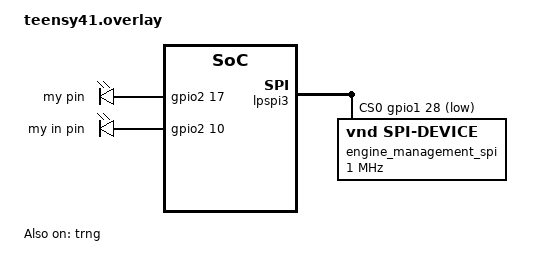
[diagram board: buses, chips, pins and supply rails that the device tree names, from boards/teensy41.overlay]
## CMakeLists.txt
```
cmake_minimum_required(VERSION 3.20.0)
find_package(Zephyr REQUIRED HINTS $ENV{ZEPHYR_BASE})
project(solo_blink)

target_sources(app PRIVATE src/main.c)
```

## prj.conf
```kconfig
CONFIG_GPIO=y
CONFIG_ENTROPY_GENERATOR=y
CONFIG_ENTROPY_MCUX_TRNG=y

CONFIG_SPI=y

CONFIG_SERIAL=y
CONFIG_CONSOLE=y
CONFIG_UART_CONSOLE=y
CONFIG_STDOUT_CONSOLE=y

CONFIG_NEWLIB_LIBC=y
CONFIG_NEWLIB_LIBC_FLOAT_PRINTF=y
```

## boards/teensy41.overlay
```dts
/{
		aliases{
				rand-gen = &trng;
				eng-spi = &engine_management_spi;
				out = &out;
				in = &in;
		};

		chosen {

        zephyr,console = &lpuart6;

    };

		user
		{
				compatible = "gpio-leds";
				out: out-pin{
						gpios = <&gpio2 17 GPIO_ACTIVE_HIGH>;
						label = "my pin";
				};

				in: in-pin{
						gpios = <&gpio2 10 GPIO_ACTIVE_HIGH>;
						label = "my in pin";
				};
		};
};

&lpspi3{
		status = "okay";

		cs-gpios = <&gpio1 28 GPIO_ACTIVE_LOW>;

		engine_management_spi: engine-management-spi@0{
				compatible = "vnd,spi-device";
				reg = <0>;
				spi-max-frequency = <1000000>;
				/* spi-cpol; */

				spi-interframe-delay-ns = <0>;
						/* description: | */
						/*   Delay in nanoseconds between SPI words. */
						/*   Default of 0 is special value which will assume to mean half of the SCK period. */

				spi-cs-setup-delay-ns = <100>;
						/* description: | */
						/*   Delay in nanoseconds to be introduced by the controller after CS is asserted. */
						/*   Also known as enable lead time. */

				spi-cs-hold-delay-ns = <100>;
						/* description: | */
						/*  Delay in nanoseconds to be introduced by the controller before the CS is de-asserted. */
						/*   Also known as enable lag time. */

		};

};

&pinmux_lpspi3{
		status = "okay";
};

&gpio1{
		status = "okay";
};

&gpio2{
		status = "okay";
};

&trng{
		status = "okay";
};

/* Ethernet */
&enet {
		status = "disabled";
};

&enet_mac {
		status = "disabled";
};

&enet_mdio {
		status = "disabled";
};
```

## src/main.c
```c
#include <stdio.h>
#include <zephyr/kernel.h>
#include <zephyr/device.h>
#include <zephyr/drivers/entropy.h>
#include <zephyr/drivers/spi.h>
#include <zephyr/drivers/gpio.h>
#include <zephyr/drivers/gpio/gpio_utils.h>

/* GPIO */
// #define IN_PIN DT_ALIAS(in)
const struct gpio_dt_spec gp_pin = GPIO_DT_SPEC_GET(DT_PATH(user, out_pin), gpios);
const struct gpio_dt_spec in_pin = GPIO_DT_SPEC_GET(DT_PATH(user, in_pin), gpios);

/* RANDOM GENERATOR */
#define RAND_GEN DT_ALIAS(rand_gen)
const struct device *random_gen = DEVICE_DT_GET(RAND_GEN);

/* ENGINE MANAGEMENT ADC*/
#define ENG_SPI DT_ALIAS(eng_spi)
const struct spi_dt_spec eng_spi = SPI_DT_SPEC_GET(ENG_SPI, SPI_WORD_SET(8) | SPI_OP_MODE_MASTER | SPI_TRANSFER_MSB, 0);
// const struct spi_dt_spec *engine_management_adc = SPI_DT_SPEC_GET(ENG_SPI);
//  const struct device *random_gen = DEVICE_DT_GET(DT_CHOSEN(zephyr_entropy));

int main(void)
{
	struct spi_buf_set rx_channels[8] = {
		{ .buffers =
			  (struct spi_buf[]){
				  { .buf = (void *)(char[]){ 0b00000000, 0b00000000, 0b00000000 }, .len = 3 },
			  },
		  .count = 1 },
		{ .buffers =
			  (struct spi_buf[]){
				  { .buf = (void *)(char[]){ 0b00000000, 0b00000000, 0b00000000 }, .len = 3 },
			  },
		  .count = 1 },

		{ .buffers =
			  (struct spi_buf[]){
				  { .buf = (void *)(char[]){ 0b00000000, 0b00000000, 0b00000000 }, .len = 3 },
			  },
		  .count = 1 },

		{ .buffers =
			  (struct spi_buf[]){
				  { .buf = (void *)(char[]){ 0b00000000, 0b00000000, 0b00000000 }, .len = 3 },
			  },
		  .count = 1 },

		{ .buffers =
			  (struct spi_buf[]){
				  { .buf = (void *)(char[]){ 0b00000000, 0b00000000, 0b00000000 }, .len = 3 },
			  },
		  .count = 1 },
		{ .buffers =
			  (struct spi_buf[]){
				  { .buf = (void *)(char[]){ 0b00000000, 0b00000000, 0b00000000 }, .len = 3 },
			  },
		  .count = 1 },

		{ .buffers =
			  (struct spi_buf[]){
				  { .buf = (void *)(char[]){ 0b00000000, 0b00000000, 0b00000000 }, .len = 3 },
			  },
		  .count = 1 },

		{ .buffers =
			  (struct spi_buf[]){
				  { .buf = (void *)(char[]){ 0b00000000, 0b00000000, 0b00000000 }, .len = 3 },
			  },
		  .count = 1 },
	};

	struct spi_buf_set tx_channels[8] = {
		{ .buffers =
			  (struct spi_buf[]){
				  { .buf = (void *)(char[]){ 0b00000110, 0b00000000, 0b00000000 }, .len = 3 },
			  },
		  .count = 1 },
		{ .buffers =
			  (struct spi_buf[]){
				  { .buf = (void *)(char[]){ 0b00000110, 0b01000000, 0b00000000 }, .len = 3 },
			  },
		  .count = 1 },

		{ .buffers =
			  (struct spi_buf[]){
				  { .buf = (void *)(char[]){ 0b00000110, 0b10000000, 0b00000000 }, .len = 3 },
			  },
		  .count = 1 },

		{ .buffers =
			  (struct spi_buf[]){
				  { .buf = (void *)(char[]){ 0b00000110, 0b11000000, 0b00000000 }, .len = 3 },
			  },
		  .count = 1 },

		{ .buffers =
			  (struct spi_buf[]){
				  { .buf = (void *)(char[]){ 0b00000111, 0b00000000, 0b00000000 }, .len = 3 },
			  },
		  .count = 1 },
		{ .buffers =
			  (struct spi_buf[]){
				  { .buf = (void *)(char[]){ 0b00000111, 0b01000000, 0b00000000 }, .len = 3 },
			  },
		  .count = 1 },

		{ .buffers =
			  (struct spi_buf[]){
				  { .buf = (void *)(char[]){ 0b00000111, 0b10000000, 0b00000000 }, .len = 3 },
			  },
		  .count = 1 },

		{ .buffers =
			  (struct spi_buf[]){
				  { .buf = (void *)(char[]){ 0b00000111, 0b11000000, 0b00000000 }, .len = 3 },
			  },
		  .count = 1 },
	};

	if (!gpio_is_ready_dt(&gp_pin))
	{
		printf("GPIO GP BAD");
	}
	else
	{
		printf("GPIO ENG GP GOOOD\n");
	}

	if (!gpio_is_ready_dt(&in_pin))
	{
		printf("GPIO IN BAD");
	}
	else
	{
		printf("GPIO ENG GP GOOOD\n");
	}

	if (!spi_is_ready_dt(&eng_spi))
	{
		printf("GPIO ENG SPI BAD");
	}
	else
	{
		printf("GPIO ENG SPI GOOOD\n");
	}

	printf("GPIO READY\n");

	gpio_pin_configure_dt(&gp_pin, GPIO_OUTPUT_ACTIVE);
	gpio_pin_configure_dt(&gp_pin, GPIO_INPUT);

	while (1)
	{
		uint32_t x = 100;
		int ret = entropy_get_entropy(random_gen, (uint8_t *)&x, sizeof(x));
		// int ret = entropy_get_entropy(random_gen, (uint8_t *)&x, sizeof(x));

		printf("true random number: %u\n", (uint32_t)x);
		printf("PIN READ: %u\n", (uint32_t)gpio_pin_get_raw(in_pin.port, in_pin.pin));
		printf("PIN OUT: %u\n", (uint32_t)gpio_pin_get_dt(&gp_pin));

		for (int i = 0; i < 3; ++i)
		{
			spi_transceive_dt(&eng_spi, &tx_channels[i], &rx_channels[i]);
			char *res = (char *)rx_channels[i].buffers[0].buf;

			uint32_t channel_value = 0;
			channel_value |= ((res[1] & 0x0F) << 8) | res[2];
			printf("SPI_READ -- CH %d: %d\n", i, channel_value);
		}

		k_msleep(900);
	}

	return 0;
}
```
